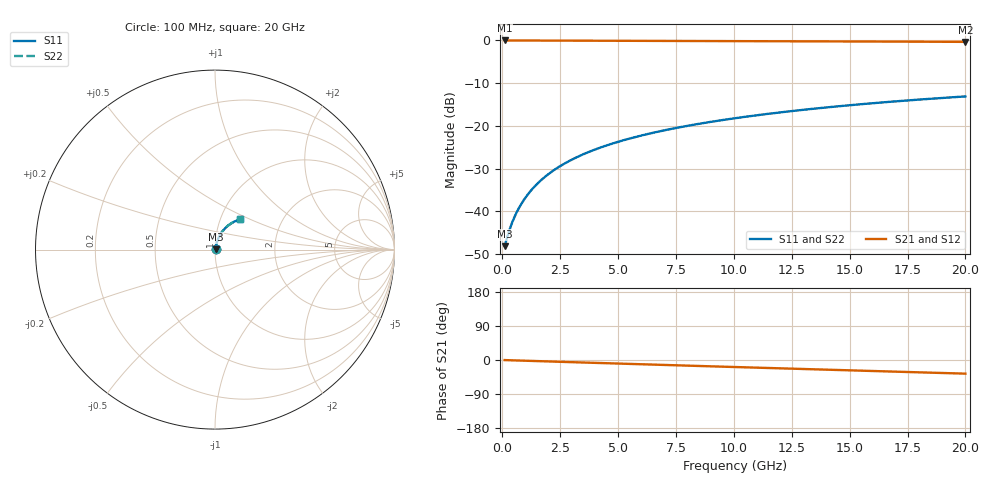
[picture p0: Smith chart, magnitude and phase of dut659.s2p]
! Touchstone file exported from HFSS 2026.1.0
!  File:  C:/ffzhzh/LocalFiles/Ansys_Project_Files/temp_train_BSMRDL_659_1783017129_51716.aedt
!  Generated:  02:33:33 AM Jul  3, 2026
!  Design:  BSMRDL
!  Project:  temp_train_BSMRDL_659_1783017129_51716
! Variables:
!  h_bsmrdl = 4.88um
!  h_ox = 20um
!  h_rdl = 5um
!  h_sub = 80um
!  h_tmrdl = 5um
!  h_tsv = 80um
!  h_via = 3um
!  l_bsmrdl = 610.42um
!  l_sub = 1010.42um
!  l_tmrdl = 200um
!  m_sub = 200um
!  pitch = 23um
!  r_tsv = 6um
!  s_tmrdl = 10um
!  w_bsmrdl = 12.74um
!  w_sub = 500um
!  w_tmrdl = 12um
!  x_tsv_center1 = 206um
!  x_tsv_center2 = 829.16um
!  x_tsv_center3 = 1041.16um
!  x_tsv_center4 = 1664.32um
!  x_tsv_center5 = 1876.32um
!  x_tsv_center6 = 2499.48um
# GHz S MA R 50.000000
! Terminal data exported
! Port[1] = BSM_RDL1_1_T1
! Port[2] = BSM_RDL1_1_T2
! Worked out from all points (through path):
!   200 points, 100 MHz to 20 GHz, reference 50 ohm
!   highest |S21| = -0.03 dB at 100 MHz (marker M1); lowest = -0.4 dB at 20 GHz (marker M2)
!   group delay of S21, straight-line fit = 4.98 ps
!   lowest |S11| = -48.2 dB at 100 MHz (marker M3), VSWR 1.01, Z = 50.4 + j0.159 ohm
!   |S11| at or under -10 dB: start of sweep to end of sweep
!   |S22| runs from -48.2 to -13.1 dB; largest |S21 - S12| = 3.1e-15
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0.1  0.003906 23.8  0.9964 -0.2  0.9964 -0.2  0.003906 23.8
! Gamma 0 0 0 0
! Port Impedance 50 0 50 0
0.3  0.00594 48.4  0.9961 -0.6  0.9961 -0.6  0.00594 48.4
0.4  0.00709 54.5  0.9959 -0.8  0.9959 -0.8  0.00709 54.5
0.6  0.009463 62.2  0.9957 -1.2  0.9957 -1.2  0.009463 62.2
0.7  0.01068 64.9  0.9957 -1.4  0.9957 -1.4  0.01068 64.9
0.9  0.01317 68.6  0.9955 -1.7  0.9955 -1.7  0.01317 68.6
1.1  0.01571 71.1  0.9953 -2.1  0.9953 -2.1  0.01571 71.1
1.3  0.01827 72.7  0.9952 -2.5  0.9952 -2.5  0.01827 72.7
1.7  0.02345 74.6  0.9948 -3.3  0.9948 -3.3  0.02345 74.6
2.2  0.02991 75.6  0.9943 -4.2  0.9943 -4.2  0.02991 75.6
2.8  0.03762 75.8  0.9935 -5.3  0.9935 -5.3  0.03762 75.8
3.5  0.04648 75.4  0.9925 -6.6  0.9925 -6.6  0.04648 75.4
4.2  0.05519 74.7  0.9914 -8.0  0.9914 -8.0  0.05519 74.7
5  0.06495 73.6  0.99 -9.4  0.99 -9.4  0.06495 73.6
5.9  0.07571 72.3  0.9884 -11.1  0.9884 -11.1  0.07571 72.3
6.8  0.08623 71.0  0.9868 -12.7  0.9868 -12.7  0.08623 71.0
8.3  0.1033 68.6  0.9839 -15.4  0.9839 -15.4  0.1033 68.6
10.1  0.1232 65.8  0.9805 -18.7  0.9805 -18.7  0.1232 65.8
11.7  0.1403 63.3  0.9772 -21.5  0.9772 -21.5  0.1403 63.3
13.4  0.158 60.5  0.9737 -24.5  0.9737 -24.5  0.158 60.5
16.7  0.1905 55.2  0.9666 -30.3  0.9666 -30.3  0.1905 55.2
20  0.2205 49.9  0.9592 -36.0  0.9592 -36.0  0.2206 49.9
